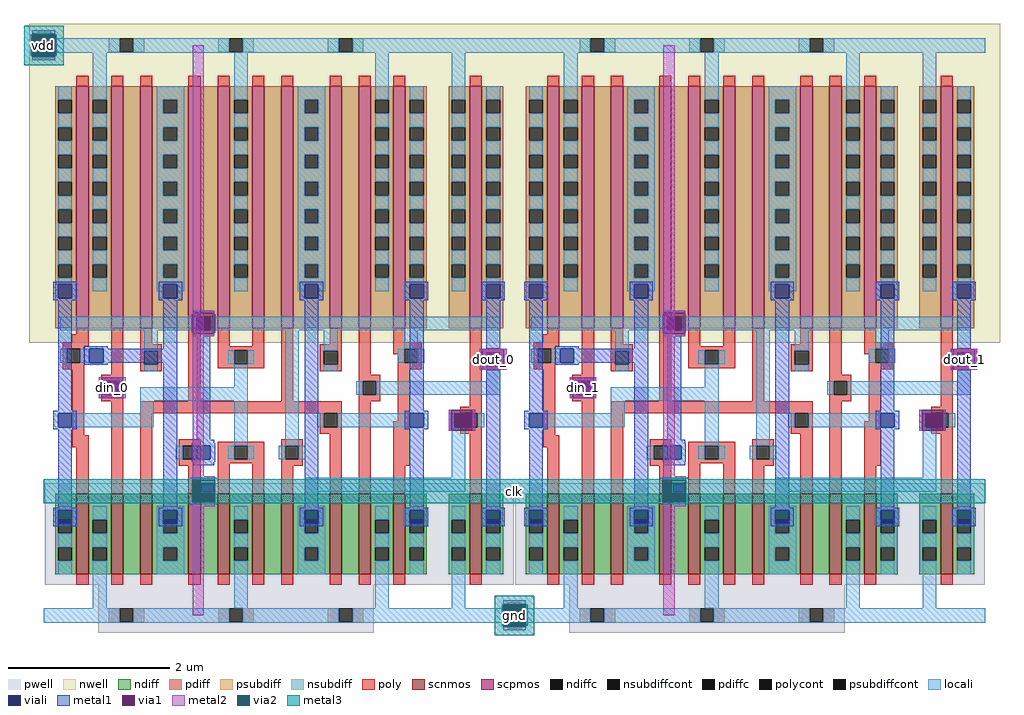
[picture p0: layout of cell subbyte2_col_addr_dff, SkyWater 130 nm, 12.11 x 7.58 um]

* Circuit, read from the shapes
.subckt subbyte2_col_addr_dff vdd gnd din_0 dout_0 din_1 dout_1 clk
XM1 gnd n1 n2 gnd sky130_fd_pr__nfet_01v8 w=1 l=0.15
XM2 n3 din_0 gnd gnd sky130_fd_pr__nfet_01v8 w=1 l=0.15
XM3 n1 n4 n3 gnd sky130_fd_pr__nfet_01v8 w=1 l=0.15
XM4 n5 clk n1 gnd sky130_fd_pr__nfet_01v8 w=1 l=0.15
XM5 gnd n2 n5 gnd sky130_fd_pr__nfet_01v8 w=1 l=0.15
XM6 n6 n2 gnd gnd sky130_fd_pr__nfet_01v8 w=1 l=0.15
XM7 sky130_fd_bd_sram__openram_dff_1/QN clk n6 gnd sky130_fd_pr__nfet_01v8 w=1 l=0.15
XM8 n7 n4 sky130_fd_bd_sram__openram_dff_1/QN gnd sky130_fd_pr__nfet_01v8 w=1 l=0.15
XM9 gnd dout_0 n7 gnd sky130_fd_pr__nfet_01v8 w=1 l=0.15
XM10 n4 clk gnd gnd sky130_fd_pr__nfet_01v8 w=1 l=0.15
XM11 dout_0 sky130_fd_bd_sram__openram_dff_1/QN gnd gnd sky130_fd_pr__nfet_01v8 w=1 l=0.15
XM12 gnd n8 n9 gnd sky130_fd_pr__nfet_01v8 w=1 l=0.15
XM13 n10 din_1 gnd gnd sky130_fd_pr__nfet_01v8 w=1 l=0.15
XM14 n8 n11 n10 gnd sky130_fd_pr__nfet_01v8 w=1 l=0.15
XM15 n12 clk n8 gnd sky130_fd_pr__nfet_01v8 w=1 l=0.15
XM16 gnd n9 n12 gnd sky130_fd_pr__nfet_01v8 w=1 l=0.15
XM17 n13 n9 gnd gnd sky130_fd_pr__nfet_01v8 w=1 l=0.15
XM18 sky130_fd_bd_sram__openram_dff_0/QN clk n13 gnd sky130_fd_pr__nfet_01v8 w=1 l=0.15
XM19 n14 n11 sky130_fd_bd_sram__openram_dff_0/QN gnd sky130_fd_pr__nfet_01v8 w=1 l=0.15
XM20 gnd dout_1 n14 gnd sky130_fd_pr__nfet_01v8 w=1 l=0.15
XM21 n11 clk gnd gnd sky130_fd_pr__nfet_01v8 w=1 l=0.15
XM22 dout_1 sky130_fd_bd_sram__openram_dff_0/QN gnd gnd sky130_fd_pr__nfet_01v8 w=1 l=0.15
XM23 vdd n1 n2 vdd sky130_fd_pr__pfet_01v8 w=3 l=0.15
XM24 n15 din_0 vdd vdd sky130_fd_pr__pfet_01v8 w=3 l=0.15
XM25 n1 clk n15 vdd sky130_fd_pr__pfet_01v8 w=3 l=0.15
XM26 n16 n4 n1 vdd sky130_fd_pr__pfet_01v8 w=3 l=0.15
XM27 vdd n2 n16 vdd sky130_fd_pr__pfet_01v8 w=3 l=0.15
XM28 n17 n2 vdd vdd sky130_fd_pr__pfet_01v8 w=3 l=0.15
XM29 sky130_fd_bd_sram__openram_dff_1/QN n4 n17 vdd sky130_fd_pr__pfet_01v8 w=3 l=0.15
XM30 n18 clk sky130_fd_bd_sram__openram_dff_1/QN vdd sky130_fd_pr__pfet_01v8 w=3 l=0.15
XM31 vdd dout_0 n18 vdd sky130_fd_pr__pfet_01v8 w=3 l=0.15
XM32 n4 clk vdd vdd sky130_fd_pr__pfet_01v8 w=3 l=0.15
XM33 dout_0 sky130_fd_bd_sram__openram_dff_1/QN vdd vdd sky130_fd_pr__pfet_01v8 w=3 l=0.15
XM34 vdd n8 n9 vdd sky130_fd_pr__pfet_01v8 w=3 l=0.15
XM35 n19 din_1 vdd vdd sky130_fd_pr__pfet_01v8 w=3 l=0.15
XM36 n8 clk n19 vdd sky130_fd_pr__pfet_01v8 w=3 l=0.15
XM37 n20 n11 n8 vdd sky130_fd_pr__pfet_01v8 w=3 l=0.15
XM38 vdd n9 n20 vdd sky130_fd_pr__pfet_01v8 w=3 l=0.15
XM39 n21 n9 vdd vdd sky130_fd_pr__pfet_01v8 w=3 l=0.15
XM40 sky130_fd_bd_sram__openram_dff_0/QN n11 n21 vdd sky130_fd_pr__pfet_01v8 w=3 l=0.15
XM41 n22 clk sky130_fd_bd_sram__openram_dff_0/QN vdd sky130_fd_pr__pfet_01v8 w=3 l=0.15
XM42 vdd dout_1 n22 vdd sky130_fd_pr__pfet_01v8 w=3 l=0.15
XM43 n11 clk vdd vdd sky130_fd_pr__pfet_01v8 w=3 l=0.15
XM44 dout_1 sky130_fd_bd_sram__openram_dff_0/QN vdd vdd sky130_fd_pr__pfet_01v8 w=3 l=0.15
.ends

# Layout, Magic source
magic
tech sky130A
magscale 1 2
<< locali >>
rect -17 1431 17 1447
rect -17 1381 17 1397
rect 1151 17 1185 33
rect 1151 -33 1185 -17
<< viali >>
rect -17 1397 17 1431
rect 1151 -17 1185 17
<< metal1 >>
rect -32 1388 -26 1440
rect 26 1388 32 1440
rect 1136 -26 1142 26
rect 1194 -26 1200 26
<< via1 >>
rect -26 1431 26 1440
rect -26 1397 -17 1431
rect -17 1397 17 1431
rect 17 1397 26 1431
rect -26 1388 26 1397
rect 1142 17 1194 26
rect 1142 -17 1151 17
rect 1151 -17 1185 17
rect 1185 -17 1194 17
rect 1142 -26 1194 -17
<< metal2 >>
rect -28 1442 28 1451
rect -28 1377 28 1386
rect 137 538 203 590
rect 369 345 397 1414
rect 1082 609 1148 661
rect 1305 538 1371 590
rect 1537 345 1565 1414
rect 2250 609 2316 661
rect 368 336 424 345
rect 368 271 424 280
rect 1536 336 1592 345
rect 1536 271 1592 280
rect 369 0 397 271
rect 1140 28 1196 37
rect 1537 0 1565 271
rect 1140 -37 1196 -28
<< via2 >>
rect -28 1440 28 1442
rect -28 1388 -26 1440
rect -26 1388 26 1440
rect 26 1388 28 1440
rect -28 1386 28 1388
rect 368 280 424 336
rect 1536 280 1592 336
rect 1140 26 1196 28
rect 1140 -26 1142 26
rect 1142 -26 1194 26
rect 1194 -26 1196 26
rect 1140 -28 1196 -26
<< metal3 >>
rect -49 1442 49 1463
rect -49 1386 -28 1442
rect 28 1386 49 1442
rect -49 1365 49 1386
rect 363 338 429 341
rect 1531 338 1597 341
rect 0 336 2336 338
rect 0 280 368 336
rect 424 280 1536 336
rect 1592 280 2336 336
rect 0 278 2336 280
rect 363 275 429 278
rect 1531 275 1597 278
rect 1119 28 1217 49
rect 1119 -28 1140 28
rect 1196 -28 1217 28
rect 1119 -49 1217 -28
use sky130_fd_bd_sram__openram_dff  sky130_fd_bd_sram__openram_dff_0
transform 1 0 1168 0 1 0
box -36 -43 1204 1467
use sky130_fd_bd_sram__openram_dff  sky130_fd_bd_sram__openram_dff_1
transform 1 0 0 0 1 0
box -36 -43 1204 1467
<< labels >>
rlabel metal3 s -49 1365 49 1463 4 vdd
port 3 nsew
rlabel metal3 s 1119 -49 1217 49 4 gnd
port 5 nsew
rlabel metal2 s 137 538 203 590 4 din_0
port 7 nsew
rlabel metal2 s 1082 609 1148 661 4 dout_0
port 9 nsew
rlabel metal2 s 1305 538 1371 590 4 din_1
port 11 nsew
rlabel metal2 s 2250 609 2316 661 4 dout_1
port 13 nsew
rlabel metal3 s 0 278 2336 338 4 clk
port 15 nsew
<< properties >>
string FIXED_BBOX 1135 -37 1201 0
<< end >>

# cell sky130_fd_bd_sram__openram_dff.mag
magic
tech sky130A
magscale 1 2
<< nwell >>
rect -36 676 1204 1467
<< pwell >>
rect 2 76 1166 328
rect 135 -43 819 76
<< scnmos >>
rect 81 102 111 302
rect 167 102 197 302
rect 239 102 269 302
rect 359 102 389 302
rect 431 102 461 302
rect 517 102 547 302
rect 589 102 619 302
rect 709 102 739 302
rect 781 102 811 302
rect 867 102 897 302
rect 1057 102 1087 302
<< scpmos >>
rect 81 712 111 1312
rect 167 712 197 1312
rect 239 712 269 1312
rect 359 712 389 1312
rect 431 712 461 1312
rect 517 712 547 1312
rect 589 712 619 1312
rect 709 712 739 1312
rect 781 712 811 1312
rect 867 712 897 1312
rect 1057 712 1087 1312
<< ndiff >>
rect 28 237 81 302
rect 28 203 36 237
rect 70 203 81 237
rect 28 169 81 203
rect 28 135 36 169
rect 70 135 81 169
rect 28 102 81 135
rect 111 237 167 302
rect 111 203 122 237
rect 156 203 167 237
rect 111 169 167 203
rect 111 135 122 169
rect 156 135 167 169
rect 111 102 167 135
rect 197 102 239 302
rect 269 237 359 302
rect 269 203 297 237
rect 331 203 359 237
rect 269 169 359 203
rect 269 135 297 169
rect 331 135 359 169
rect 269 102 359 135
rect 389 102 431 302
rect 461 237 517 302
rect 461 203 472 237
rect 506 203 517 237
rect 461 169 517 203
rect 461 135 472 169
rect 506 135 517 169
rect 461 102 517 135
rect 547 102 589 302
rect 619 237 709 302
rect 619 203 647 237
rect 681 203 709 237
rect 619 169 709 203
rect 619 135 647 169
rect 681 135 709 169
rect 619 102 709 135
rect 739 102 781 302
rect 811 237 867 302
rect 811 203 822 237
rect 856 203 867 237
rect 811 169 867 203
rect 811 135 822 169
rect 856 135 867 169
rect 811 102 867 135
rect 897 237 950 302
rect 897 203 908 237
rect 942 203 950 237
rect 897 169 950 203
rect 897 135 908 169
rect 942 135 950 169
rect 897 102 950 135
rect 1004 237 1057 302
rect 1004 203 1012 237
rect 1046 203 1057 237
rect 1004 169 1057 203
rect 1004 135 1012 169
rect 1046 135 1057 169
rect 1004 102 1057 135
rect 1087 237 1140 302
rect 1087 203 1098 237
rect 1132 203 1140 237
rect 1087 169 1140 203
rect 1087 135 1098 169
rect 1132 135 1140 169
rect 1087 102 1140 135
<< pdiff >>
rect 28 1279 81 1312
rect 28 1245 36 1279
rect 70 1245 81 1279
rect 28 1211 81 1245
rect 28 1177 36 1211
rect 70 1177 81 1211
rect 28 1143 81 1177
rect 28 1109 36 1143
rect 70 1109 81 1143
rect 28 1075 81 1109
rect 28 1041 36 1075
rect 70 1041 81 1075
rect 28 1007 81 1041
rect 28 973 36 1007
rect 70 973 81 1007
rect 28 939 81 973
rect 28 905 36 939
rect 70 905 81 939
rect 28 871 81 905
rect 28 837 36 871
rect 70 837 81 871
rect 28 712 81 837
rect 111 1279 167 1312
rect 111 1245 122 1279
rect 156 1245 167 1279
rect 111 1211 167 1245
rect 111 1177 122 1211
rect 156 1177 167 1211
rect 111 1143 167 1177
rect 111 1109 122 1143
rect 156 1109 167 1143
rect 111 1075 167 1109
rect 111 1041 122 1075
rect 156 1041 167 1075
rect 111 1007 167 1041
rect 111 973 122 1007
rect 156 973 167 1007
rect 111 939 167 973
rect 111 905 122 939
rect 156 905 167 939
rect 111 871 167 905
rect 111 837 122 871
rect 156 837 167 871
rect 111 712 167 837
rect 197 712 239 1312
rect 269 1279 359 1312
rect 269 1245 297 1279
rect 331 1245 359 1279
rect 269 1211 359 1245
rect 269 1177 297 1211
rect 331 1177 359 1211
rect 269 1143 359 1177
rect 269 1109 297 1143
rect 331 1109 359 1143
rect 269 1075 359 1109
rect 269 1041 297 1075
rect 331 1041 359 1075
rect 269 1007 359 1041
rect 269 973 297 1007
rect 331 973 359 1007
rect 269 939 359 973
rect 269 905 297 939
rect 331 905 359 939
rect 269 871 359 905
rect 269 837 297 871
rect 331 837 359 871
rect 269 712 359 837
rect 389 712 431 1312
rect 461 1279 517 1312
rect 461 1245 472 1279
rect 506 1245 517 1279
rect 461 1211 517 1245
rect 461 1177 472 1211
rect 506 1177 517 1211
rect 461 1143 517 1177
rect 461 1109 472 1143
rect 506 1109 517 1143
rect 461 1075 517 1109
rect 461 1041 472 1075
rect 506 1041 517 1075
rect 461 1007 517 1041
rect 461 973 472 1007
rect 506 973 517 1007
rect 461 939 517 973
rect 461 905 472 939
rect 506 905 517 939
rect 461 871 517 905
rect 461 837 472 871
rect 506 837 517 871
rect 461 712 517 837
rect 547 712 589 1312
rect 619 1279 709 1312
rect 619 1245 647 1279
rect 681 1245 709 1279
rect 619 1211 709 1245
rect 619 1177 647 1211
rect 681 1177 709 1211
rect 619 1143 709 1177
rect 619 1109 647 1143
rect 681 1109 709 1143
rect 619 1075 709 1109
rect 619 1041 647 1075
rect 681 1041 709 1075
rect 619 1007 709 1041
rect 619 973 647 1007
rect 681 973 709 1007
rect 619 939 709 973
rect 619 905 647 939
rect 681 905 709 939
rect 619 871 709 905
rect 619 837 647 871
rect 681 837 709 871
rect 619 712 709 837
rect 739 712 781 1312
rect 811 1279 867 1312
rect 811 1245 822 1279
rect 856 1245 867 1279
rect 811 1211 867 1245
rect 811 1177 822 1211
rect 856 1177 867 1211
rect 811 1143 867 1177
rect 811 1109 822 1143
rect 856 1109 867 1143
rect 811 1075 867 1109
rect 811 1041 822 1075
rect 856 1041 867 1075
rect 811 1007 867 1041
rect 811 973 822 1007
rect 856 973 867 1007
rect 811 939 867 973
rect 811 905 822 939
rect 856 905 867 939
rect 811 871 867 905
rect 811 837 822 871
rect 856 837 867 871
rect 811 712 867 837
rect 897 1279 950 1312
rect 897 1245 908 1279
rect 942 1245 950 1279
rect 897 1211 950 1245
rect 897 1177 908 1211
rect 942 1177 950 1211
rect 897 1143 950 1177
rect 897 1109 908 1143
rect 942 1109 950 1143
rect 897 1075 950 1109
rect 897 1041 908 1075
rect 942 1041 950 1075
rect 897 1007 950 1041
rect 897 973 908 1007
rect 942 973 950 1007
rect 897 939 950 973
rect 897 905 908 939
rect 942 905 950 939
rect 897 871 950 905
rect 897 837 908 871
rect 942 837 950 871
rect 897 712 950 837
rect 1004 1279 1057 1312
rect 1004 1245 1012 1279
rect 1046 1245 1057 1279
rect 1004 1211 1057 1245
rect 1004 1177 1012 1211
rect 1046 1177 1057 1211
rect 1004 1143 1057 1177
rect 1004 1109 1012 1143
rect 1046 1109 1057 1143
rect 1004 1075 1057 1109
rect 1004 1041 1012 1075
rect 1046 1041 1057 1075
rect 1004 1007 1057 1041
rect 1004 973 1012 1007
rect 1046 973 1057 1007
rect 1004 939 1057 973
rect 1004 905 1012 939
rect 1046 905 1057 939
rect 1004 871 1057 905
rect 1004 837 1012 871
rect 1046 837 1057 871
rect 1004 712 1057 837
rect 1087 1279 1140 1312
rect 1087 1245 1098 1279
rect 1132 1245 1140 1279
rect 1087 1211 1140 1245
rect 1087 1177 1098 1211
rect 1132 1177 1140 1211
rect 1087 1143 1140 1177
rect 1087 1109 1098 1143
rect 1132 1109 1140 1143
rect 1087 1075 1140 1109
rect 1087 1041 1098 1075
rect 1132 1041 1140 1075
rect 1087 1007 1140 1041
rect 1087 973 1098 1007
rect 1132 973 1140 1007
rect 1087 939 1140 973
rect 1087 905 1098 939
rect 1132 905 1140 939
rect 1087 871 1140 905
rect 1087 837 1098 871
rect 1132 837 1140 871
rect 1087 712 1140 837
<< ndiffc >>
rect 36 203 70 237
rect 36 135 70 169
rect 122 203 156 237
rect 122 135 156 169
rect 297 203 331 237
rect 297 135 331 169
rect 472 203 506 237
rect 472 135 506 169
rect 647 203 681 237
rect 647 135 681 169
rect 822 203 856 237
rect 822 135 856 169
rect 908 203 942 237
rect 908 135 942 169
rect 1012 203 1046 237
rect 1012 135 1046 169
rect 1098 203 1132 237
rect 1098 135 1132 169
<< pdiffc >>
rect 36 1245 70 1279
rect 36 1177 70 1211
rect 36 1109 70 1143
rect 36 1041 70 1075
rect 36 973 70 1007
rect 36 905 70 939
rect 36 837 70 871
rect 122 1245 156 1279
rect 122 1177 156 1211
rect 122 1109 156 1143
rect 122 1041 156 1075
rect 122 973 156 1007
rect 122 905 156 939
rect 122 837 156 871
rect 297 1245 331 1279
rect 297 1177 331 1211
rect 297 1109 331 1143
rect 297 1041 331 1075
rect 297 973 331 1007
rect 297 905 331 939
rect 297 837 331 871
rect 472 1245 506 1279
rect 472 1177 506 1211
rect 472 1109 506 1143
rect 472 1041 506 1075
rect 472 973 506 1007
rect 472 905 506 939
rect 472 837 506 871
rect 647 1245 681 1279
rect 647 1177 681 1211
rect 647 1109 681 1143
rect 647 1041 681 1075
rect 647 973 681 1007
rect 647 905 681 939
rect 647 837 681 871
rect 822 1245 856 1279
rect 822 1177 856 1211
rect 822 1109 856 1143
rect 822 1041 856 1075
rect 822 973 856 1007
rect 822 905 856 939
rect 822 837 856 871
rect 908 1245 942 1279
rect 908 1177 942 1211
rect 908 1109 942 1143
rect 908 1041 942 1075
rect 908 973 942 1007
rect 908 905 942 939
rect 908 837 942 871
rect 1012 1245 1046 1279
rect 1012 1177 1046 1211
rect 1012 1109 1046 1143
rect 1012 1041 1046 1075
rect 1012 973 1046 1007
rect 1012 905 1046 939
rect 1012 837 1046 871
rect 1098 1245 1132 1279
rect 1098 1177 1132 1211
rect 1098 1109 1132 1143
rect 1098 1041 1132 1075
rect 1098 973 1132 1007
rect 1098 905 1132 939
rect 1098 837 1132 871
<< psubdiff >>
rect 161 -17 188 17
rect 222 -17 249 17
rect 433 -17 460 17
rect 494 -17 521 17
rect 705 -17 732 17
rect 766 -17 793 17
<< nsubdiff >>
rect 161 1397 188 1431
rect 222 1397 249 1431
rect 433 1397 460 1431
rect 494 1397 521 1431
rect 705 1397 732 1431
rect 766 1397 793 1431
<< psubdiffcont >>
rect 188 -17 222 17
rect 460 -17 494 17
rect 732 -17 766 17
<< nsubdiffcont >>
rect 188 1397 222 1431
rect 460 1397 494 1431
rect 732 1397 766 1431
<< poly >>
rect 81 1312 111 1338
rect 167 1312 197 1338
rect 239 1312 269 1338
rect 359 1312 389 1338
rect 431 1312 461 1338
rect 517 1312 547 1338
rect 589 1312 619 1338
rect 709 1312 739 1338
rect 781 1312 811 1338
rect 867 1312 897 1338
rect 1057 1312 1087 1338
rect 81 697 111 712
rect 70 677 111 697
rect 47 667 111 677
rect 47 661 101 667
rect 47 627 57 661
rect 91 627 101 661
rect 47 611 101 627
rect 71 447 101 611
rect 167 597 197 712
rect 239 672 269 712
rect 239 656 293 672
rect 239 622 249 656
rect 283 622 293 656
rect 239 606 293 622
rect 143 581 197 597
rect 143 547 153 581
rect 187 547 197 581
rect 143 531 197 547
rect 359 531 389 712
rect 431 667 461 712
rect 517 667 547 712
rect 431 657 547 667
rect 431 623 472 657
rect 506 623 547 657
rect 431 613 547 623
rect 589 531 619 712
rect 709 672 739 712
rect 685 656 739 672
rect 685 622 695 656
rect 729 622 739 656
rect 685 606 739 622
rect 781 597 811 712
rect 867 677 897 712
rect 867 661 938 677
rect 867 647 894 661
rect 878 627 894 647
rect 928 627 938 661
rect 878 611 938 627
rect 781 581 835 597
rect 781 547 791 581
rect 825 547 835 581
rect 781 531 835 547
rect 71 417 111 447
rect 81 302 111 417
rect 167 302 197 531
rect 239 501 739 531
rect 239 302 269 501
rect 685 467 695 501
rect 729 467 739 501
rect 685 451 739 467
rect 335 421 389 437
rect 335 387 345 421
rect 379 387 389 421
rect 335 371 389 387
rect 359 302 389 371
rect 431 421 547 431
rect 431 387 472 421
rect 506 387 547 421
rect 431 377 547 387
rect 431 302 461 377
rect 517 302 547 377
rect 589 421 643 437
rect 589 387 599 421
rect 633 387 643 421
rect 589 371 643 387
rect 589 302 619 371
rect 709 302 739 451
rect 781 302 811 531
rect 878 481 908 611
rect 1057 517 1087 712
rect 867 371 908 481
rect 1033 501 1087 517
rect 1033 467 1043 501
rect 1077 467 1087 501
rect 1033 451 1087 467
rect 867 302 897 371
rect 1057 302 1087 451
rect 81 76 111 102
rect 167 76 197 102
rect 239 76 269 102
rect 359 76 389 102
rect 431 76 461 102
rect 517 76 547 102
rect 589 76 619 102
rect 709 76 739 102
rect 781 76 811 102
rect 867 76 897 102
rect 1057 76 1087 102
<< polycont >>
rect 57 627 91 661
rect 249 622 283 656
rect 153 547 187 581
rect 472 623 506 657
rect 695 622 729 656
rect 894 627 928 661
rect 791 547 825 581
rect 695 467 729 501
rect 345 387 379 421
rect 472 387 506 421
rect 599 387 633 421
rect 1043 467 1077 501
<< locali >>
rect 0 1431 1168 1432
rect 0 1397 188 1431
rect 222 1397 460 1431
rect 494 1397 732 1431
rect 766 1397 1168 1431
rect 0 1396 1168 1397
rect 36 1279 70 1312
rect 36 1211 70 1245
rect 36 1143 70 1177
rect 36 1075 70 1109
rect 36 1007 70 1041
rect 36 939 70 973
rect 36 871 70 905
rect 36 821 70 837
rect 122 1279 156 1396
rect 122 1211 156 1245
rect 122 1143 156 1177
rect 122 1075 156 1109
rect 122 1007 156 1041
rect 122 939 156 973
rect 122 871 156 905
rect 122 804 156 837
rect 280 1279 348 1312
rect 280 1245 297 1279
rect 331 1245 348 1279
rect 280 1211 348 1245
rect 280 1177 297 1211
rect 331 1177 348 1211
rect 280 1143 348 1177
rect 280 1109 297 1143
rect 331 1109 348 1143
rect 280 1075 348 1109
rect 280 1041 297 1075
rect 331 1041 348 1075
rect 280 1007 348 1041
rect 280 973 297 1007
rect 331 973 348 1007
rect 280 939 348 973
rect 280 905 297 939
rect 331 905 348 939
rect 280 871 348 905
rect 280 837 297 871
rect 331 837 348 871
rect 280 821 348 837
rect 280 804 297 821
rect 331 804 348 821
rect 472 1279 506 1396
rect 472 1211 506 1245
rect 472 1143 506 1177
rect 472 1075 506 1109
rect 472 1007 506 1041
rect 472 939 506 973
rect 472 871 506 905
rect 472 804 506 837
rect 630 1279 698 1312
rect 630 1245 647 1279
rect 681 1245 698 1279
rect 630 1211 698 1245
rect 630 1177 647 1211
rect 681 1177 698 1211
rect 630 1143 698 1177
rect 630 1109 647 1143
rect 681 1109 698 1143
rect 630 1075 698 1109
rect 630 1041 647 1075
rect 681 1041 698 1075
rect 630 1007 698 1041
rect 630 973 647 1007
rect 681 973 698 1007
rect 630 939 698 973
rect 630 905 647 939
rect 681 905 698 939
rect 630 871 698 905
rect 630 837 647 871
rect 681 837 698 871
rect 630 821 698 837
rect 630 804 647 821
rect 681 804 698 821
rect 822 1279 856 1396
rect 822 1211 856 1245
rect 822 1143 856 1177
rect 822 1075 856 1109
rect 822 1007 856 1041
rect 822 939 856 973
rect 822 871 856 905
rect 822 804 856 837
rect 908 1279 942 1312
rect 908 1211 942 1245
rect 908 1143 942 1177
rect 908 1075 942 1109
rect 908 1007 942 1041
rect 908 939 942 973
rect 908 871 942 905
rect 908 821 942 837
rect 1012 1279 1046 1396
rect 1012 1211 1046 1245
rect 1012 1143 1046 1177
rect 1012 1075 1046 1109
rect 1012 1007 1046 1041
rect 1012 939 1046 973
rect 1012 871 1046 905
rect 1012 804 1046 837
rect 1098 1279 1132 1312
rect 1098 1211 1132 1245
rect 1098 1143 1132 1177
rect 1098 1075 1132 1109
rect 1098 1007 1132 1041
rect 1098 939 1132 973
rect 1098 871 1132 905
rect 1098 821 1132 837
rect 41 707 379 741
rect 413 707 1132 741
rect 41 627 57 661
rect 91 627 113 661
rect 249 656 283 707
rect 456 623 472 657
rect 506 623 522 657
rect 249 606 283 622
rect 137 547 153 581
rect 187 547 203 581
rect 472 566 506 623
rect 239 532 506 566
rect 239 501 273 532
rect 70 467 273 501
rect 472 421 506 532
rect 599 421 633 707
rect 695 656 729 707
rect 894 661 928 707
rect 878 627 894 661
rect 928 627 944 661
rect 695 606 729 622
rect 1098 581 1132 618
rect 775 547 791 581
rect 825 547 1132 581
rect 679 467 695 501
rect 729 467 908 501
rect 1012 467 1020 501
rect 1077 467 1093 501
rect 328 387 345 421
rect 456 387 472 421
rect 506 387 522 421
rect 583 387 599 421
rect 633 387 649 421
rect 1012 341 1046 467
rect 647 307 1046 341
rect 647 270 681 307
rect 36 261 70 270
rect 36 169 70 203
rect 36 102 70 135
rect 122 237 156 270
rect 122 169 156 203
rect 122 18 156 135
rect 280 261 348 270
rect 280 203 297 261
rect 331 203 348 261
rect 280 169 348 203
rect 280 135 297 169
rect 331 135 348 169
rect 280 102 348 135
rect 472 237 506 270
rect 472 169 506 203
rect 472 18 506 135
rect 630 261 698 270
rect 630 203 647 261
rect 681 203 698 261
rect 630 169 698 203
rect 630 135 647 169
rect 681 135 698 169
rect 630 102 698 135
rect 822 237 856 270
rect 822 169 856 203
rect 822 18 856 135
rect 908 261 942 271
rect 908 169 942 203
rect 908 102 942 135
rect 1012 237 1046 270
rect 1012 169 1046 203
rect 1012 18 1046 135
rect 1098 261 1132 271
rect 1098 169 1132 203
rect 1098 102 1132 135
rect 0 17 1168 18
rect 0 -17 188 17
rect 222 -17 460 17
rect 494 -17 732 17
rect 766 -17 1168 17
rect 0 -18 1168 -17
<< viali >>
rect 36 787 70 821
rect 297 787 331 821
rect 647 787 681 821
rect 908 787 942 821
rect 1098 787 1132 821
rect 379 707 413 741
rect 113 627 147 661
rect 153 547 187 581
rect 36 467 70 501
rect 1098 618 1132 652
rect 908 467 942 501
rect 1020 467 1043 501
rect 1043 467 1054 501
rect 379 387 413 421
rect 36 237 70 261
rect 36 227 70 237
rect 297 237 331 261
rect 297 227 331 237
rect 647 237 681 261
rect 647 227 681 237
rect 908 237 942 261
rect 908 227 942 237
rect 1098 237 1132 261
rect 1098 227 1132 237
<< metal1 >>
rect 24 821 82 827
rect 24 787 36 821
rect 70 787 82 821
rect 24 781 82 787
rect 285 821 343 827
rect 285 787 297 821
rect 331 787 343 821
rect 285 781 343 787
rect 635 821 693 827
rect 635 787 647 821
rect 681 787 693 821
rect 635 781 693 787
rect 896 821 954 827
rect 896 787 908 821
rect 942 787 954 821
rect 896 781 954 787
rect 1086 821 1144 827
rect 1086 787 1098 821
rect 1132 787 1144 821
rect 1086 781 1144 787
rect 36 507 70 781
rect 101 661 159 667
rect 297 661 331 781
rect 369 750 423 756
rect 369 747 370 750
rect 367 701 370 747
rect 422 747 423 750
rect 369 698 370 701
rect 422 701 425 747
rect 422 698 423 701
rect 369 692 423 698
rect 101 627 113 661
rect 147 627 331 661
rect 101 621 159 627
rect 137 538 144 590
rect 196 538 203 590
rect 24 501 82 507
rect 24 467 36 501
rect 70 467 82 501
rect 24 461 82 467
rect 36 267 70 461
rect 297 267 331 627
rect 379 436 413 692
rect 369 427 423 436
rect 367 421 425 427
rect 367 387 379 421
rect 413 387 425 421
rect 367 381 425 387
rect 369 372 423 381
rect 647 267 681 781
rect 908 507 942 781
rect 1098 661 1132 781
rect 1082 609 1089 661
rect 1141 609 1148 661
rect 896 501 954 507
rect 896 467 908 501
rect 942 467 954 501
rect 896 461 954 467
rect 908 267 942 461
rect 1004 458 1011 510
rect 1063 458 1070 510
rect 1098 267 1132 609
rect 24 261 82 267
rect 24 227 36 261
rect 70 227 82 261
rect 24 221 82 227
rect 285 261 343 267
rect 285 227 297 261
rect 331 227 343 261
rect 285 221 343 227
rect 635 261 693 267
rect 635 227 647 261
rect 681 227 693 261
rect 635 221 693 227
rect 896 261 954 267
rect 896 227 908 261
rect 942 227 954 261
rect 896 221 954 227
rect 1086 261 1144 267
rect 1086 227 1098 261
rect 1132 227 1144 261
rect 1086 221 1144 227
<< via1 >>
rect 370 741 422 750
rect 370 707 379 741
rect 379 707 413 741
rect 413 707 422 741
rect 370 698 422 707
rect 144 581 196 590
rect 144 547 153 581
rect 153 547 187 581
rect 187 547 196 581
rect 144 538 196 547
rect 1089 652 1141 661
rect 1089 618 1098 652
rect 1098 618 1132 652
rect 1132 618 1141 652
rect 1089 609 1141 618
rect 1011 501 1063 510
rect 1011 467 1020 501
rect 1020 467 1054 501
rect 1054 467 1063 501
rect 1011 458 1063 467
<< metal2 >>
rect 369 750 423 756
rect 369 698 370 750
rect 422 698 423 750
rect 369 692 423 698
rect 1082 609 1089 661
rect 1141 609 1148 661
rect 137 538 144 590
rect 196 538 203 590
rect 1004 458 1011 510
rect 1063 458 1070 510
<< labels >>
rlabel metal2 s 1007 504 1007 504 4 QN
port 2 nsew
rlabel metal2 s 369 692 423 756 4 CLK
port 4 nsew
rlabel metal2 s 137 538 203 590 4 D
port 6 nsew
rlabel metal2 s 1082 609 1148 661 4 Q
port 8 nsew
rlabel locali s 548 1416 548 1416 4 VDD
port 9 nsew
rlabel locali s 544 0 544 0 4 GND
port 10 nsew
rlabel metal2 s 170 564 170 564 4 D
port 6 nsew
rlabel metal2 s 1115 635 1115 635 4 Q
port 8 nsew
rlabel metal2 s 396 724 396 724 4 clk
port 11 nsew
rlabel locali s 584 1414 584 1414 4 vdd
port 12 nsew
rlabel locali s 584 0 584 0 4 gnd
port 13 nsew
<< properties >>
string FIXED_BBOX 0 0 1168 1414
<< end >>
